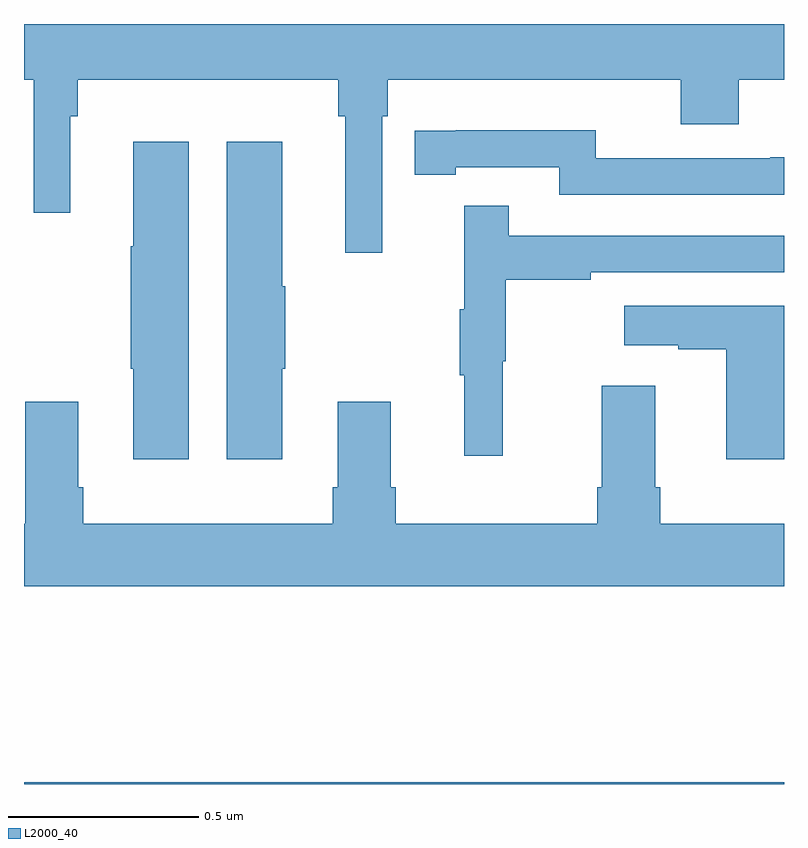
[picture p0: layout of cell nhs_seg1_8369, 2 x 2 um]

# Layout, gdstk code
import gdstk
lib = gdstk.Library(unit=1e-6, precision=1e-09)
def R(c, l, rs):  # rectangles x0, y0, x1, y1
    for r in rs: c.add(gdstk.rectangle(r[:2], r[2:], *l))
def P(c, l, *ps):  # polygons
    for p in ps: c.add(gdstk.Polygon(p, *l))
L2000_40 = (2000, 40)

nhs_seg1_8369 = lib.new_cell('nhs_seg1_8369')
R(nhs_seg1_8369, L2000_40, [(215,563.199,217,563.204)])
P(nhs_seg1_8369, L2000_40, [(215.943,564.956),(215.957,564.956),(215.957,565.052),(216.728,565.052),(216.728,564.935),(216.881,564.935),(216.881,565.052),(217,565.052),(217,565.199),(215,565.199),(215,565.052),(215.025,565.052),(215.025,564.702),(215.122,564.702),(215.122,564.956),(215.141,564.956),(215.141,565.052),(215.827,565.052),(215.827,564.956),(215.846,564.956),(215.846,564.597),(215.943,564.597)],
  [(217,564.848),(216.964,564.848),(216.964,564.846),(216.504,564.846),(216.504,564.919),(216.136,564.919),(216.136,564.918),(216.028,564.918),(216.028,564.802),(216.136,564.802),(216.136,564.822),(216.408,564.822),(216.408,564.75),(217,564.75)],
  [(215.434,564.889),(215.288,564.889),(215.288,564.614),(215.281,564.614),(215.281,564.292),(215.288,564.292),(215.288,564.054),(215.434,564.054)],
  [(215.68,564.292),(215.688,564.292),(215.688,564.509),(215.68,564.509),(215.68,564.889),(215.534,564.889),(215.534,564.054),(215.68,564.054)],
  [(216.26,564.312),(216.268,564.312),(216.268,564.526),(216.491,564.526),(216.491,564.546),(217,564.546),(217,564.642),(216.275,564.642),(216.275,564.721),(216.158,564.721),(216.158,564.449),(216.147,564.449),(216.147,564.275),(216.158,564.275),(216.158,564.063),(216.26,564.063)],
  [(217,564.457),(216.579,564.457),(216.579,564.353),(216.722,564.353),(216.722,564.343),(216.848,564.343),(216.848,564.054),(217,564.054)],
  [(217,563.884),(216.674,563.884),(216.674,563.98),(216.661,563.98),(216.661,564.247),(216.521,564.247),(216.521,563.98),(216.509,563.98),(216.509,563.884),(215.978,563.884),(215.978,563.98),(215.965,563.98),(215.965,564.205),(215.825,564.205),(215.825,563.98),(215.813,563.98),(215.813,563.884),(215.156,563.884),(215.156,563.98),(215.143,563.98),(215.143,564.205),(215.003,564.205),(215.003,563.884),(215,563.884),(215,563.72),(217,563.72)])

lib.write_gds('nhs_seg1_8369.gds')
